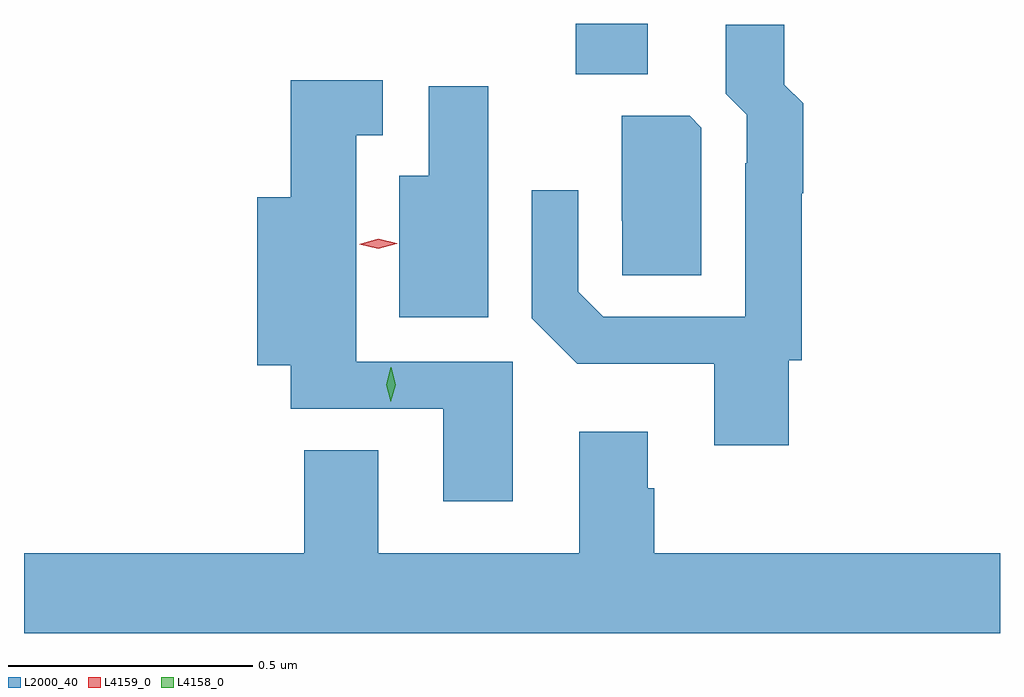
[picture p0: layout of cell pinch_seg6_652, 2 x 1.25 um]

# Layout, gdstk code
import gdstk
lib = gdstk.Library(unit=1e-6, precision=1e-09)
def R(c, l, rs):  # rectangles x0, y0, x1, y1
    for r in rs: c.add(gdstk.rectangle(r[:2], r[2:], *l))
def P(c, l, *ps):  # polygons
    for p in ps: c.add(gdstk.Polygon(p, *l))
L2000_40 = (2000, 40)
L4158_0 = (4158, 0)
L4159_0 = (4159, 0)

pinch_seg6_652 = lib.new_cell('pinch_seg6_652')
R(pinch_seg6_652, L2000_40, [(402.364,965.797,402.511,965.901)])
P(pinch_seg6_652, L2000_40, [(402.8,965.211),(402.827,965.211),(402.827,965.554),(402.83,965.554),(402.83,965.738),(402.791,965.776),(402.791,965.899),(402.671,965.899),(402.671,965.758),(402.714,965.715),(402.714,965.615),(402.711,965.615),(402.711,965.301),(402.42,965.301),(402.369,965.352),(402.369,965.56),(402.273,965.56),(402.273,965.298),(402.367,965.204),(402.647,965.204),(402.647,965.037),(402.8,965.037)],
  [(402.235,965.208),(401.914,965.208),(401.914,965.672),(401.968,965.672),(401.968,965.785),(401.78,965.785),(401.78,965.545),(401.711,965.545),(401.711,965.201),(401.78,965.201),(401.78,965.112),(402.092,965.112),(402.092,964.923),(402.235,964.923)],
  [(402.184,965.773),(402.062,965.773),(402.062,965.59),(402.002,965.59),(402.002,965.3),(402.184,965.3)],
  [(402.621,965.688),(402.597,965.712),(402.458,965.712),(402.458,965.497),(402.459,965.497),(402.459,965.386),(402.621,965.386)],
  [(403.233,964.816),(402.524,964.816),(402.524,964.949),(402.511,964.949),(402.511,965.065),(402.371,965.065),(402.371,964.816),(401.959,964.816),(401.959,965.027),(401.807,965.027),(401.807,964.816),(401.233,964.816),(401.233,964.652),(403.233,964.652)])
P(pinch_seg6_652, L4158_0, [(401.985,965.126),(401.985,965.126),(401.975,965.161),(401.985,965.197),(401.985,965.197),(401.986,965.197),(401.995,965.161),(401.985,965.126)])
P(pinch_seg6_652, L4159_0, [(401.959,965.44),(401.92,965.449),(401.92,965.449),(401.92,965.449),(401.959,965.46),(401.997,965.451),(401.998,965.45),(401.997,965.45)])

lib.write_gds('pinch_seg6_652.gds')
